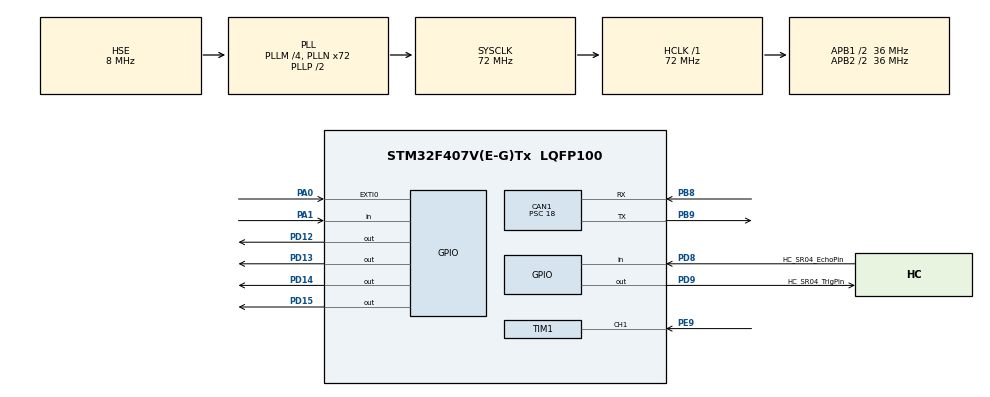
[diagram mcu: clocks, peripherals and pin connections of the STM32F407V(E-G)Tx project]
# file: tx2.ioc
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CAN1.BS1=CAN_BS1_2TQ
CAN1.CalculateBaudRate=500000
CAN1.CalculateTimeBit=2000
CAN1.CalculateTimeQuantum=500.0
CAN1.Prescaler=18
Mcu.Family=STM32F4
Mcu.Name=STM32F407V(E-G)Tx
Mcu.Package=LQFP100
NVIC.CAN1_RX0_IRQn=true\:0\:0\:false\:false\:true\:true\:true\:true
NVIC.EXTI0_IRQn=true\:0\:0\:false\:false\:true\:true\:true\:true
NVIC.PriorityGroup=NVIC_PRIORITYGROUP_0
NVIC.TIM1_CC_IRQn=true\:0\:0\:false\:false\:true\:true\:true\:true
PA0-WKUP.Signal=GPXTI0
PA1.Signal=GPIO_Input
PB8.Mode=CAN_Activate
PB8.Signal=CAN1_RX
PB9.Mode=CAN_Activate
PB9.Signal=CAN1_TX
PD12.Signal=GPIO_Output
PD13.Signal=GPIO_Output
PD14.Signal=GPIO_Output
PD15.Signal=GPIO_Output
PD8.GPIO_Label=HC_SR04_EchoPin
PD8.Signal=GPIO_Input
PD9.GPIO_Label=HC_SR04_TrigPin
PD9.Signal=GPIO_Output
PE9.Signal=S_TIM1_CH1
PH0-OSC_IN.Mode=HSE-External-Oscillator
PH0-OSC_IN.Signal=RCC_OSC_IN
PH1-OSC_OUT.Mode=HSE-External-Oscillator
PH1-OSC_OUT.Signal=RCC_OSC_OUT
ProjectManager.HeapSize=0x200
ProjectManager.StackSize=0x400
ProjectManager.TargetToolchain=STM32CubeIDE
RCC.48MHZClocksFreq_Value=20571428.57142857
RCC.AHBFreq_Value=72000000
RCC.APB1CLKDivider=RCC_HCLK_DIV2
RCC.APB1Freq_Value=36000000
RCC.APB1TimFreq_Value=72000000
RCC.APB2CLKDivider=RCC_HCLK_DIV2
RCC.APB2Freq_Value=36000000
RCC.APB2TimFreq_Value=72000000
RCC.CortexFreq_Value=72000000
RCC.HCLKFreq_Value=72000000
RCC.HSE_VALUE=8000000
RCC.HSI_VALUE=16000000
RCC.LSE_VALUE=32768
RCC.PLLM=4
RCC.PLLN=72
RCC.PLLQ=7
RCC.PLLSourceVirtual=RCC_PLLSOURCE_HSE
RCC.SYSCLKFreq_VALUE=72000000
RCC.SYSCLKSource=RCC_SYSCLKSOURCE_PLLCLK
RCC.VCOOutputFreq_Value=144000000
SH.S_TIM1_CH1.0=TIM1_CH1,Input_Capture1_from_TI1
TIM1.Channel-Input_Capture1_from_TI1=TIM_CHANNEL_1
TIM1.Period=0xffff-1
TIM1.Prescaler=72-1
board=STM32F407G-DISC1

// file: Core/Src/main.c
/* USER CODE BEGIN Header */
/**
  ******************************************************************************
  * @file           : main.c
  * @brief          : Main program body
  ******************************************************************************
  * @attention
  *
  * Copyright (c) 2024 STMicroelectronics.
  * All rights reserved.
  *
  * This software is licensed under terms that can be found in the LICENSE file
  * in the root directory of this software component.
  * If no LICENSE file comes with this software, it is provided AS-IS.
  *
  ******************************************************************************
  */
/* USER CODE END Header */
#include "main.h"

/* USER CODE BEGIN PTD */
#define usTIM	TIM1
/* USER CODE END PTD */

CAN_HandleTypeDef hcan1;

TIM_HandleTypeDef htim1;

void SystemClock_Config(void);
static void MX_GPIO_Init(void);
static void MX_CAN1_Init(void);
static void MX_TIM1_Init(void);

/* USER CODE BEGIN 0 */
int Switch_Flag = 0;
CAN_TxHeaderTypeDef TxHeader;
uint16_t TxData[2];
uint32_t TxMailBox;

const float SpeedofSound = 0.0343/2;
float distance;

//void delay(uint16_t time){
//	__HAL_TIM_SET_COUNTER(&htim1, 0);
//	while(__HAL_TIM_GET_COUNTER(&htim1) < time);
//}

void usDelay(uint32_t uSec)
{
	if(uSec < 2) uSec = 2;
	usTIM->ARR = uSec - 1; 	/*sets the value in the auto-reload register*/
	usTIM->EGR = 1; 			/*Re-initialises the timer*/
	usTIM->SR &= ~1; 		//Resets the flag
	usTIM->CR1 |= 1; 		//Enables the counter
	while((usTIM->SR&0x0001) != 1);
	usTIM->SR &= ~(0x0001);
}

void HAL_GPIO_EXTI_Callback(uint16_t GPIO_Pin){
	Switch_Flag = 1;
	HAL_GPIO_WritePin(GPIOD, GPIO_PIN_14, GPIO_PIN_SET);
}
/* USER CODE END 0 */

int main(void)
{
  /* USER CODE BEGIN 1 */
	uint32_t numTicks = 0;
  /* USER CODE END 1 */

  /* MCU Configuration--------------------------------------------------------*/

  /* Reset of all peripherals, Initializes the Flash interface and the Systick. */
  HAL_Init();

  /* Configure the system clock */
  SystemClock_Config();

  /* Initialize all configured peripherals */
  MX_GPIO_Init();
  MX_CAN1_Init();
  MX_TIM1_Init();
  /* USER CODE BEGIN 2 */
HAL_CAN_Start(&hcan1);
HAL_TIM_IC_Start_IT(&htim1, TIM_CHANNEL_1);
HAL_CAN_ActivateNotification(&hcan1, CAN_IT_RX_FIFO0_MSG_PENDING);
HAL_Delay(100);
HAL_Delay(100);

TxHeader.DLC = 4;
TxHeader.RTR = CAN_RTR_DATA;
TxHeader.IDE = CAN_ID_STD;
TxHeader.ExtId = 0x00;
TxHeader.StdId = 0x0AA;
TxHeader.TransmitGlobalTime = DISABLE;
  /* USER CODE END 2 */

  /* Infinite loop */
  /* USER CODE BEGIN WHILE */
  while (1)
  {
	  uint8_t sensorValue;

	  if(Switch_Flag == 1){

		  sensorValue = HAL_GPIO_ReadPin(GPIOA, GPIO_PIN_1);
		  TxData[0]=sensorValue;
//		  	if (HAL_CAN_AddTxMessage(&hcan1, &TxHeader, (uint8_t *)TxData, &TxMailBox) != HAL_OK)
//		  		  	 Error_Handler();
			//Set TRIG to LOW for few uSec
			HAL_GPIO_WritePin(GPIOD, GPIO_PIN_9, GPIO_PIN_RESET);
			usDelay(3);

			//*** START Ultrasonic measure routine ***//
			//1. Output 10 usec TRIG
			HAL_GPIO_WritePin(GPIOD, GPIO_PIN_9, GPIO_PIN_SET);
			usDelay(10);
			HAL_GPIO_WritePin(GPIOD, GPIO_PIN_9, GPIO_PIN_RESET);

			//2. Wait for ECHO pin rising edge
			while(HAL_GPIO_ReadPin(GPIOD, GPIO_PIN_8) == GPIO_PIN_RESET);

			//3. Start measuring ECHO pulse width in usec
			numTicks = 0;
			while(HAL_GPIO_ReadPin(GPIOD, GPIO_PIN_8) == GPIO_PIN_SET)
			{
				numTicks++;
				usDelay(2); //2.8usec
			};

			//4. Estimate distance in cm
			distance = (numTicks + 0.0f)*2.8*SpeedofSound;

	  	  	TxData[1] = distance;
	  	  	if (HAL_CAN_AddTxMessage(&hcan1, &TxHeader, (uint8_t*)TxData, &TxMailBox) != HAL_OK)
//	  	  if (HAL_CAN_AddTxMessage(hcan, pHeader, aData, pTxMailbox) != HAL_OK)
	  	  	  	Error_Handler();
	  	  	HAL_GPIO_WritePin(GPIOD, GPIO_PIN_12, GPIO_PIN_SET);
	  	  	}
	  HAL_GPIO_TogglePin(GPIOD, GPIO_PIN_13);
	  HAL_Delay(500);
    /* USER CODE END WHILE */

  }
}

void SystemClock_Config(void)
{
  RCC_OscInitTypeDef RCC_OscInitStruct = {0};
  RCC_ClkInitTypeDef RCC_ClkInitStruct = {0};

  /** Configure the main internal regulator output voltage
  */
  __HAL_RCC_PWR_CLK_ENABLE();
  __HAL_PWR_VOLTAGESCALING_CONFIG(PWR_REGULATOR_VOLTAGE_SCALE1);

  /** Initializes the RCC Oscillators according to the specified parameters
  * in the RCC_OscInitTypeDef structure.
  */
  RCC_OscInitStruct.OscillatorType = RCC_OSCILLATORTYPE_HSE;
  RCC_OscInitStruct.HSEState = RCC_HSE_ON;
  RCC_OscInitStruct.PLL.PLLState = RCC_PLL_ON;
  RCC_OscInitStruct.PLL.PLLSource = RCC_PLLSOURCE_HSE;
  RCC_OscInitStruct.PLL.PLLM = 4;
  RCC_OscInitStruct.PLL.PLLN = 72;
  RCC_OscInitStruct.PLL.PLLP = RCC_PLLP_DIV2;
  RCC_OscInitStruct.PLL.PLLQ = 7;
  if (HAL_RCC_OscConfig(&RCC_OscInitStruct) != HAL_OK)
  {
    Error_Handler();
  }

  /** Initializes the CPU, AHB and APB buses clocks
  */
  RCC_ClkInitStruct.ClockType = RCC_CLOCKTYPE_HCLK|RCC_CLOCKTYPE_SYSCLK
                              |RCC_CLOCKTYPE_PCLK1|RCC_CLOCKTYPE_PCLK2;
  RCC_ClkInitStruct.SYSCLKSource = RCC_SYSCLKSOURCE_PLLCLK;
  RCC_ClkInitStruct.AHBCLKDivider = RCC_SYSCLK_DIV1;
  RCC_ClkInitStruct.APB1CLKDivider = RCC_HCLK_DIV2;
  RCC_ClkInitStruct.APB2CLKDivider = RCC_HCLK_DIV2;

  if (HAL_RCC_ClockConfig(&RCC_ClkInitStruct, FLASH_LATENCY_2) != HAL_OK)
  {
    Error_Handler();
  }
}

static void MX_CAN1_Init(void)
{

  hcan1.Instance = CAN1;
  hcan1.Init.Prescaler = 18;
  hcan1.Init.Mode = CAN_MODE_NORMAL;
  hcan1.Init.SyncJumpWidth = CAN_SJW_1TQ;
  hcan1.Init.TimeSeg1 = CAN_BS1_2TQ;
  hcan1.Init.TimeSeg2 = CAN_BS2_1TQ;
  hcan1.Init.TimeTriggeredMode = DISABLE;
  hcan1.Init.AutoBusOff = DISABLE;
  hcan1.Init.AutoWakeUp = DISABLE;
  hcan1.Init.AutoRetransmission = DISABLE;
  hcan1.Init.ReceiveFifoLocked = DISABLE;
  hcan1.Init.TransmitFifoPriority = DISABLE;
  if (HAL_CAN_Init(&hcan1) != HAL_OK)
  {
    Error_Handler();
  }
  /* USER CODE BEGIN CAN1_Init 2 */
  CAN_FilterTypeDef canFilterConfig;
    canFilterConfig.FilterActivation=CAN_FILTER_ENABLE;
    canFilterConfig.SlaveStartFilterBank=14;
    canFilterConfig.FilterBank=2;
    canFilterConfig.FilterFIFOAssignment=CAN_RX_FIFO0;
    canFilterConfig.FilterScale=CAN_FILTERSCALE_32BIT;
    canFilterConfig.FilterMode=CAN_FILTERMODE_IDMASK;
    canFilterConfig.FilterMaskIdLow=0x0000;
    canFilterConfig.FilterMaskIdHigh=0xFF00;
    canFilterConfig.FilterIdLow=0x0000;
    canFilterConfig.FilterIdHigh=0x1500;
    HAL_CAN_ConfigFilter(&hcan1, &canFilterConfig);

  /* USER CODE END CAN1_Init 2 */

}

static void MX_TIM1_Init(void)
{

  TIM_MasterConfigTypeDef sMasterConfig = {0};
  TIM_IC_InitTypeDef sConfigIC = {0};

  htim1.Instance = TIM1;
  htim1.Init.Prescaler = 72-1;
  htim1.Init.CounterMode = TIM_COUNTERMODE_UP;
  htim1.Init.Period = 0xffff-1;
  htim1.Init.ClockDivision = TIM_CLOCKDIVISION_DIV1;
  htim1.Init.RepetitionCounter = 0;
  htim1.Init.AutoReloadPreload = TIM_AUTORELOAD_PRELOAD_DISABLE;
  if (HAL_TIM_IC_Init(&htim1) != HAL_OK)
  {
    Error_Handler();
  }
  sMasterConfig.MasterOutputTrigger = TIM_TRGO_RESET;
  sMasterConfig.MasterSlaveMode = TIM_MASTERSLAVEMODE_DISABLE;
  if (HAL_TIMEx_MasterConfigSynchronization(&htim1, &sMasterConfig) != HAL_OK)
  {
    Error_Handler();
  }
  sConfigIC.ICPolarity = TIM_INPUTCHANNELPOLARITY_RISING;
  sConfigIC.ICSelection = TIM_ICSELECTION_DIRECTTI;
  sConfigIC.ICPrescaler = TIM_ICPSC_DIV1;
  sConfigIC.ICFilter = 0;
  if (HAL_TIM_IC_ConfigChannel(&htim1, &sConfigIC, TIM_CHANNEL_1) != HAL_OK)
  {
    Error_Handler();
  }

}

static void MX_GPIO_Init(void)
{
  GPIO_InitTypeDef GPIO_InitStruct = {0};

  /* GPIO Ports Clock Enable */
  __HAL_RCC_GPIOH_CLK_ENABLE();
  __HAL_RCC_GPIOA_CLK_ENABLE();
  __HAL_RCC_GPIOE_CLK_ENABLE();
  __HAL_RCC_GPIOD_CLK_ENABLE();
  __HAL_RCC_GPIOB_CLK_ENABLE();

  /*Configure GPIO pin Output Level */
  HAL_GPIO_WritePin(GPIOD, HC_SR04_TrigPin_Pin|GPIO_PIN_12|GPIO_PIN_13|GPIO_PIN_14
                          |GPIO_PIN_15, GPIO_PIN_RESET);

  /*Configure GPIO pin : PA0 */
  GPIO_InitStruct.Pin = GPIO_PIN_0;
  GPIO_InitStruct.Mode = GPIO_MODE_IT_RISING;
  GPIO_InitStruct.Pull = GPIO_NOPULL;
  HAL_GPIO_Init(GPIOA, &GPIO_InitStruct);

  /*Configure GPIO pin : PA1 */
  GPIO_InitStruct.Pin = GPIO_PIN_1;
  GPIO_InitStruct.Mode = GPIO_MODE_INPUT;
  GPIO_InitStruct.Pull = GPIO_NOPULL;
  HAL_GPIO_Init(GPIOA, &GPIO_InitStruct);

  /*Configure GPIO pin : HC_SR04_EchoPin_Pin */
  GPIO_InitStruct.Pin = HC_SR04_EchoPin_Pin;
  GPIO_InitStruct.Mode = GPIO_MODE_INPUT;
  GPIO_InitStruct.Pull = GPIO_NOPULL;
  HAL_GPIO_Init(HC_SR04_EchoPin_GPIO_Port, &GPIO_InitStruct);

  /*Configure GPIO pins : HC_SR04_TrigPin_Pin PD12 PD13 PD14
                           PD15 */
  GPIO_InitStruct.Pin = HC_SR04_TrigPin_Pin|GPIO_PIN_12|GPIO_PIN_13|GPIO_PIN_14
                          |GPIO_PIN_15;
  GPIO_InitStruct.Mode = GPIO_MODE_OUTPUT_PP;
  GPIO_InitStruct.Pull = GPIO_NOPULL;
  GPIO_InitStruct.Speed = GPIO_SPEED_FREQ_LOW;
  HAL_GPIO_Init(GPIOD, &GPIO_InitStruct);

  /* EXTI interrupt init*/
  HAL_NVIC_SetPriority(EXTI0_IRQn, 0, 0);
  HAL_NVIC_EnableIRQ(EXTI0_IRQn);

}

/* USER CODE BEGIN 4 */
void HAL_CAN_TxMailbox0CompleteCallback(CAN_HandleTypeDef *hcan)
{
	HAL_GPIO_WritePin(GPIOD, GPIO_PIN_15, GPIO_PIN_SET);
}
/* USER CODE END 4 */

void Error_Handler(void)
{
  __disable_irq();
  while (1)
  {
  }
}
